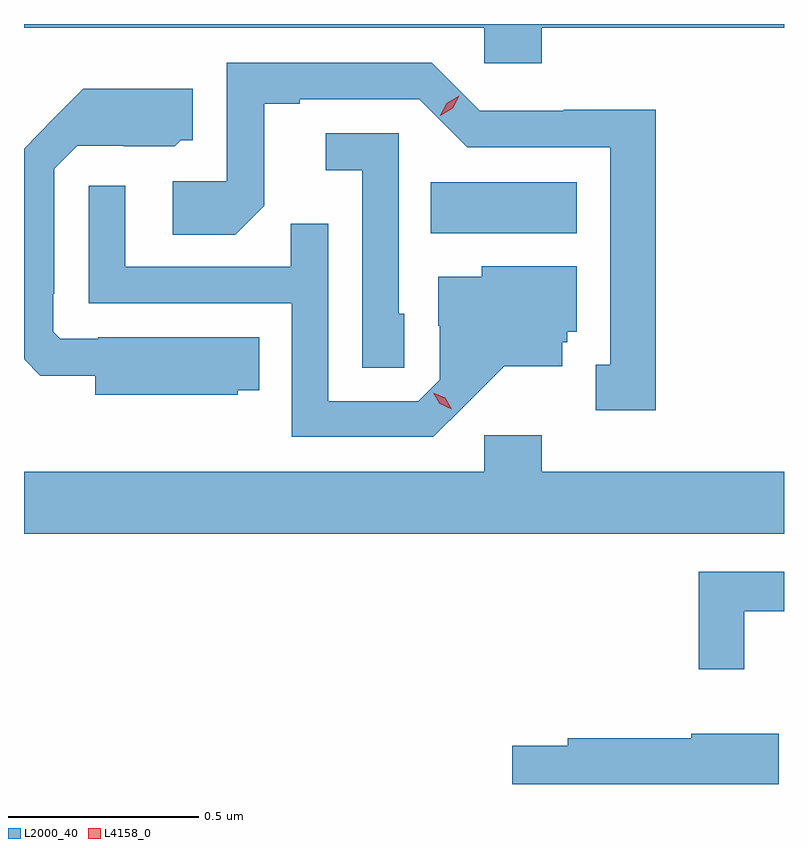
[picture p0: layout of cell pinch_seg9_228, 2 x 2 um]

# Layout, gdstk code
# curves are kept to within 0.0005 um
import gdstk
lib = gdstk.Library(unit=1e-6, precision=1e-09)
def R(c, l, rs):  # rectangles x0, y0, x1, y1
    for r in rs: c.add(gdstk.rectangle(r[:2], r[2:], *l))
def P(c, l, *ps):  # polygons
    for p in ps: c.add(gdstk.Polygon(p, *l))
L2000_40 = (2000, 40)
L4158_0 = (4158, 0)

pinch_seg9_228 = lib.new_cell('pinch_seg9_228')
R(pinch_seg9_228, L2000_40, [(600.904,1207.868,601.288,1208.002)])
P(pinch_seg9_228, L2000_40, [(601.196,1208.408),(601.833,1208.408),(601.833,1208.418),(599.833,1208.418),(599.833,1208.408),(601.044,1208.408),(601.044,1208.315),(601.196,1208.315)],
  [(601.495,1208.192),(601.254,1208.192),(601.254,1208.19),(601.032,1208.19),(600.906,1208.316),(600.366,1208.316),(600.366,1208.004),(600.225,1208.004),(600.225,1207.864),(600.389,1207.864),(600.465,1207.94),(600.465,1208.208),(600.559,1208.208),(600.559,1208.22),(600.873,1208.22),(600.999,1208.094),(601.376,1208.094),(601.376,1207.521),(601.337,1207.521),(601.337,1207.401),(601.495,1207.401)],
  [(600.396,1207.454),(600.452,1207.454),(600.452,1207.594),(600.028,1207.594),(600.028,1207.59),(599.928,1207.59),(599.91,1207.608),(599.91,1207.708),(599.913,1207.708),(599.913,1208.037),(599.973,1208.097),(600.096,1208.097),(600.096,1208.096),(600.23,1208.096),(600.246,1208.112),(600.277,1208.112),(600.277,1208.248),(599.989,1208.248),(599.833,1208.09),(599.833,1207.536),(599.876,1207.493),(600.02,1207.493),(600.02,1207.442),(600.396,1207.442)],
  [(600.834,1207.656),(600.819,1207.656),(600.819,1208.13),(600.627,1208.13),(600.627,1208.033),(600.723,1208.033),(600.723,1207.513),(600.834,1207.513)],
  [(600.994,1207.415),(601.097,1207.517),(601.249,1207.517),(601.249,1207.581),(601.263,1207.581),(601.263,1207.608),(601.288,1207.608),(601.288,1207.78),(601.038,1207.78),(601.038,1207.753),(600.923,1207.753),(600.923,1207.624),(600.927,1207.624),(600.927,1207.482),(600.87,1207.425),(600.633,1207.425),(600.633,1207.892),(600.535,1207.892),(600.535,1207.779),(600.099,1207.779),(600.099,1207.993),(600.003,1207.993),(600.003,1207.683),(600.537,1207.683),(600.537,1207.332),(600.91,1207.332)],
  [(601.833,1207.24),(601.196,1207.24),(601.196,1207.336),(601.044,1207.336),(601.044,1207.24),(599.833,1207.24),(599.833,1207.076),(601.833,1207.076)],
  [(601.729,1206.872),(601.833,1206.872),(601.833,1206.976),(601.608,1206.976),(601.608,1206.72),(601.729,1206.72)],
  [(601.819,1206.55),(601.589,1206.55),(601.589,1206.539),(601.264,1206.539),(601.264,1206.519),(601.118,1206.519),(601.118,1206.418),(601.819,1206.418)])
P(pinch_seg9_228, L4158_0, [(600.929,1208.177),(600.929,1208.178),(600.946,1208.21),(600.978,1208.229),(600.978,1208.229),(600.978,1208.229),(600.961,1208.196),(600.929,1208.177)],
  [(600.958,1207.404),(600.927,1207.419),(600.91,1207.448),(600.91,1207.448),(600.91,1207.448),(600.941,1207.434),(600.959,1207.404),(600.959,1207.404)])

lib.write_gds('pinch_seg9_228.gds')
